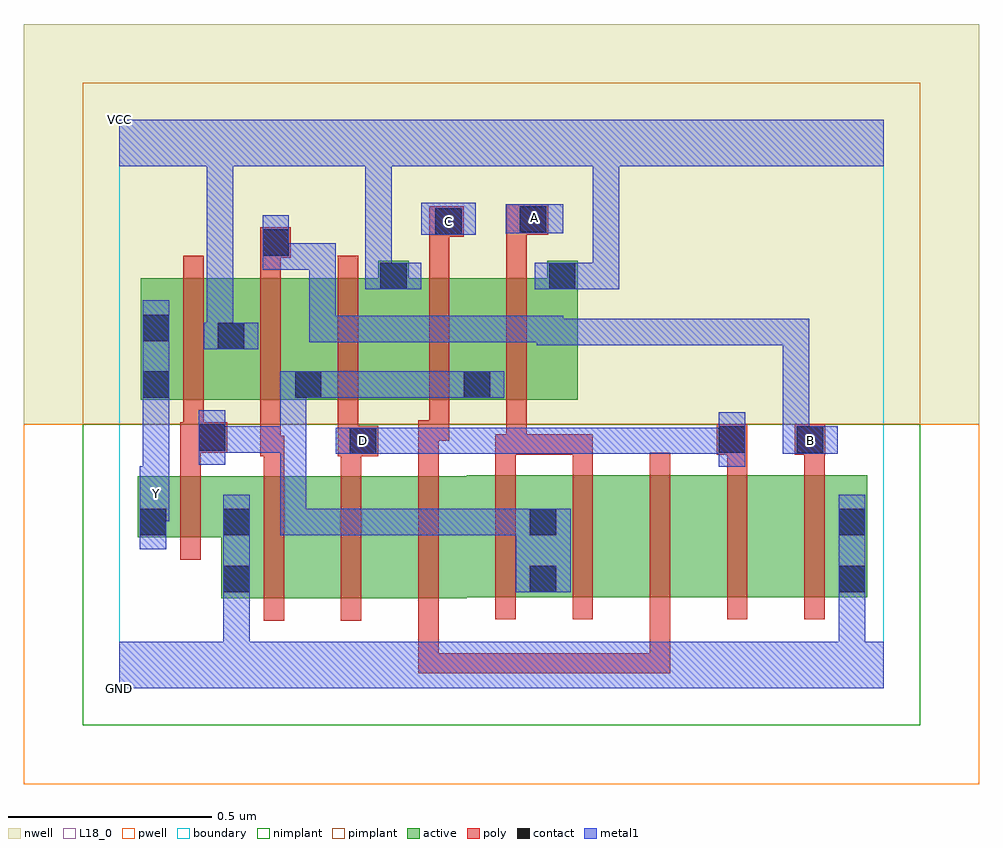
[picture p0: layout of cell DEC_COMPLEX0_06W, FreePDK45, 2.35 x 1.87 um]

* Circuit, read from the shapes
.subckt DEC_COMPLEX0_06W A B C D GND VCC Y
M1 GND n1 Y VSUBS nfet w=0.15u l=0.05u
M2 n2 B GND VSUBS nfet w=0.3u l=0.05u
M3 n3 D n2 VSUBS nfet w=0.3u l=0.05u
M4 n4 C n3 VSUBS nfet w=0.3u l=0.05u
M5 n1 A n4 VSUBS nfet w=0.3u l=0.05u
M6 n5 A n1 VSUBS nfet w=0.3u l=0.05u
M7 n6 C n5 VSUBS nfet w=0.3u l=0.05u
M8 n7 D n6 VSUBS nfet w=0.3u l=0.05u
M9 GND B n7 VSUBS nfet w=0.3u l=0.05u
M10 VCC n1 Y n8 pfet w=0.3u l=0.05u
M11 n1 B VCC n8 pfet w=0.3u l=0.05u
M12 VCC D n1 n8 pfet w=0.3u l=0.05u
M13 n1 C VCC n8 pfet w=0.3u l=0.05u
M14 VCC A n1 n8 pfet w=0.3u l=0.05u
.ends

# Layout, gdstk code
import gdstk
lib = gdstk.Library(unit=1e-6, precision=1e-09)
def R(c, l, rs):  # rectangles x0, y0, x1, y1
    for r in rs: c.add(gdstk.rectangle(r[:2], r[2:], *l))
def A(c, l, x, y, w, h, nx, ny, dx, dy):  # array of equal rectangles
    R(c, l, [(x+i*dx, y+j*dy, x+i*dx+w, y+j*dy+h) for i in range(nx) for j in range(ny)])
active = (1, 0)
pwell = (2, 0)
nwell = (3, 0)
nimplant = (4, 0)
pimplant = (5, 0)
poly = (9, 0)
contact = (10, 0)
metal1 = (11, 0)
L18_0 = (18, 0)
boundary = (235, 0)

dec_complex0_06w = lib.new_cell('DEC_COMPLEX0_06W')
R(dec_complex0_06w, active, [(0.25,0.222,0.475,0.522), (0.475,0.222,0.665,0.522), (0.665,0.222,0.855,0.522), (0.855,0.225,1.08,0.525), (1.005,0.225,1.08,0.525), (1.005,0.225,1.235,0.525), (1.235,0.225,1.425,0.525), (1.425,0.225,1.615,0.525), (1.615,0.225,1.84,0.525), (1.765,0.225,1.84,0.525), (0.25,0.232,0.325,0.447), (0.045,0.372,0.325,0.522), (0.045,0.372,0.12,0.522), (0.052,0.71,0.127,1.01), (0.052,0.71,0.312,1.01), (0.237,0.71,0.502,1.01), (0.427,0.71,0.712,1.01), (0.427,0.71,0.502,1.005), (0.637,0.71,0.917,1.01), (0.842,0.71,1.127,1.01), (0.842,0.71,0.917,0.937), (1.052,0.71,1.127,1.052), (0.237,0.83,0.312,1.01), (0.637,0.832,0.712,1.052)])
R(dec_complex0_06w, pwell, [(-0.235,-0.235,2.115,0.65)])
R(dec_complex0_06w, nwell, [(-0.235,0.65,2.115,1.635)])
R(dec_complex0_06w, nimplant, [(-0.09,-0.09,1.97,0.65)])
R(dec_complex0_06w, pimplant, [(-0.09,0.65,1.97,1.49)])
A(dec_complex0_06w, poly, 0.355, 0.167, 0.05, 0.41, 3, 1, 0.19, 0)
A(dec_complex0_06w, poly, 0.925, 0.17, 0.05, 0.41, 5, 1, 0.19, 0)
A(dec_complex0_06w, poly, 0.157, 0.655, 0.05, 0.41, 3, 1, 0.19, 0)
R(dec_complex0_06w, poly, [(0.735,0.037,0.785,0.087), (0.735,0.037,1.032,0.087), (0.735,0.037,0.785,0.217), (0.982,0.037,1.032,0.087), (0.982,0.037,1.032,0.087), (0.982,0.037,1.032,0.087), (0.982,0.037,1.165,0.087), (1.115,0.037,1.165,0.087), (1.115,0.037,1.165,0.087), (1.115,0.037,1.165,0.087), (1.115,0.037,1.355,0.087), (1.305,0.037,1.355,0.22), (1.305,0.037,1.355,0.087), (1.305,0.037,1.355,0.087), (1.305,0.037,1.355,0.087), (0.15,0.317,0.2,0.577), (0.15,0.527,0.2,0.63), (0.355,0.527,0.405,0.622), (0.545,0.527,0.595,0.622), (0.735,0.527,0.785,0.66), (0.925,0.53,0.975,0.625), (1.115,0.53,1.165,0.625), (1.495,0.53,1.545,0.625), (1.685,0.53,1.735,0.625), (0.347,0.572,0.397,0.705), (0.347,0.572,0.405,0.622), (0.537,0.572,0.637,0.647), (0.925,0.575,1.002,0.625), (0.952,0.575,1.165,0.625), (0.952,0.575,1.002,0.705), (1.115,0.575,1.165,0.625), (1.115,0.575,1.165,0.625), (1.115,0.575,1.165,0.625), (1.47,0.575,1.545,0.65), (1.662,0.575,1.737,0.65), (0.15,0.58,0.265,0.655), (0.537,0.597,0.587,0.705), (0.157,0.605,0.207,0.705), (0.735,0.61,0.812,0.66), (0.762,0.61,0.812,0.705), (0.762,0.655,0.812,1.065), (0.952,0.655,1.002,1.065), (0.347,1.015,0.397,1.11), (0.762,1.015,0.812,1.162), (0.952,1.015,1.002,1.167), (0.347,1.06,0.422,1.135), (0.762,1.112,0.847,1.187), (0.952,1.117,1.055,1.192)])
R(dec_complex0_06w, contact, [(0.255,0.237,0.32,0.302), (1.01,0.237,1.075,0.302), (1.77,0.237,1.835,0.302), (0.05,0.377,0.115,0.442), (0.255,0.377,0.32,0.442), (1.01,0.377,1.075,0.442), (1.77,0.377,1.835,0.442), (0.567,0.577,0.632,0.642), (1.475,0.58,1.54,0.645), (1.667,0.58,1.732,0.645), (0.195,0.585,0.26,0.65), (0.057,0.715,0.122,0.78), (0.432,0.715,0.497,0.78), (0.847,0.715,0.912,0.78), (0.242,0.835,0.307,0.9), (0.057,0.855,0.122,0.92), (0.642,0.982,0.707,1.047), (1.057,0.982,1.122,1.047), (0.352,1.065,0.417,1.13), (0.777,1.117,0.842,1.182), (0.985,1.122,1.05,1.187)])
R(dec_complex0_06w, metal1, [(0,0,1.88,0.115), (0.255,0.05,0.32,0.267), (1.77,0.05,1.835,0.267), (0.255,0.202,0.32,0.267), (0.255,0.202,0.32,0.267), (0.255,0.202,0.32,0.267), (0.255,0.202,0.32,0.267), (0.255,0.202,0.32,0.477), (1.77,0.202,1.835,0.267), (1.77,0.202,1.835,0.267), (1.77,0.202,1.835,0.267), (1.77,0.202,1.835,0.267), (1.77,0.202,1.835,0.477), (0.975,0.237,1.11,0.442), (0.05,0.342,0.115,0.477), (0.395,0.377,0.46,0.442), (0.395,0.377,0.67,0.442), (0.395,0.377,0.46,0.645), (0.605,0.377,0.67,0.442), (0.605,0.377,0.67,0.442), (0.605,0.377,0.67,0.442), (0.605,0.377,0.877,0.442), (0.812,0.377,0.877,0.442), (0.812,0.377,0.877,0.442), (0.812,0.377,0.877,0.442), (0.812,0.377,1.04,0.442), (0.975,0.377,1.04,0.442), (0.975,0.377,1.04,0.442), (0.05,0.412,0.115,0.477), (0.05,0.412,0.122,0.547), (0.057,0.482,0.122,0.745), (1.475,0.545,1.54,0.68), (0.195,0.55,0.26,0.685), (0.532,0.577,0.667,0.642), (0.602,0.577,0.67,0.642), (0.605,0.577,0.67,0.642), (0.605,0.577,0.877,0.642), (0.812,0.577,0.877,0.642), (0.812,0.577,0.877,0.642), (0.812,0.577,0.877,0.642), (0.812,0.577,1.092,0.642), (1.027,0.577,1.092,0.642), (1.027,0.577,1.23,0.642), (1.165,0.577,1.23,0.642), (1.165,0.577,1.23,0.642), (1.165,0.577,1.23,0.642), (1.165,0.577,1.402,0.642), (1.337,0.577,1.402,0.642), (1.337,0.577,1.402,0.642), (1.337,0.577,1.402,0.642), (1.337,0.577,1.54,0.642), (1.475,0.577,1.54,0.642), (1.475,0.577,1.54,0.642), (1.632,0.577,1.767,0.645), (0.195,0.58,0.26,0.645), (0.195,0.58,0.26,0.645), (0.195,0.58,0.417,0.645), (0.352,0.58,0.417,0.645), (0.352,0.58,0.46,0.645), (0.395,0.58,0.46,0.645), (0.395,0.58,0.46,0.78), (1.632,0.58,1.697,0.645), (1.632,0.58,1.697,0.645), (1.632,0.58,1.697,0.91), (0.057,0.68,0.122,0.955), (0.395,0.715,0.532,0.78), (0.467,0.715,0.67,0.78), (0.605,0.715,0.67,0.78), (0.605,0.715,0.67,0.78), (0.605,0.715,0.67,0.78), (0.605,0.715,0.877,0.78), (0.812,0.715,0.877,0.78), (0.812,0.715,0.877,0.78), (0.812,0.715,0.947,0.78), (0.207,0.835,0.342,0.9), (0.215,0.835,0.28,0.9), (0.215,0.835,0.28,0.9), (0.215,0.835,0.28,0.917), (1.027,0.845,1.092,0.91), (1.027,0.845,1.092,0.91), (1.027,0.845,1.092,0.91), (1.027,0.845,1.092,0.91), (1.027,0.845,1.23,0.91), (1.027,0.845,1.092,0.917), (1.165,0.845,1.23,0.91), (1.165,0.845,1.402,0.91), (1.337,0.845,1.402,0.91), (1.337,0.845,1.402,0.91), (1.337,0.845,1.402,0.91), (1.337,0.845,1.54,0.91), (1.475,0.845,1.54,0.91), (1.475,0.845,1.54,0.91), (1.475,0.845,1.54,0.91), (1.475,0.845,1.697,0.91), (1.632,0.845,1.697,0.91), (0.215,0.852,0.28,0.917), (0.215,0.852,0.28,1.35), (0.467,0.852,0.532,0.917), (0.467,0.852,0.555,0.917), (0.467,0.852,0.532,1.095), (0.49,0.852,0.555,0.917), (0.49,0.852,0.67,0.917), (0.605,0.852,0.67,0.917), (0.605,0.852,0.877,0.917), (0.812,0.852,0.877,0.917), (0.812,0.852,0.877,0.917), (0.812,0.852,0.877,0.917), (0.812,0.852,1.092,0.917), (0.605,0.982,0.67,1.35), (0.605,0.982,0.742,1.047), (1.022,0.982,1.23,1.047), (1.165,0.982,1.23,1.35), (0.352,1.03,0.417,1.165), (0.352,1.03,0.532,1.095), (0.467,1.03,0.532,1.095), (0.467,1.03,0.532,1.095), (0.467,1.03,0.532,1.095), (0.742,1.117,0.877,1.195), (0.95,1.12,1.092,1.192), (0,1.285,1.88,1.4), (0.605,1.285,0.67,1.35), (0.605,1.285,0.67,1.35), (0.605,1.285,0.67,1.35), (0.605,1.285,0.67,1.35), (1.165,1.285,1.23,1.35), (1.165,1.285,1.23,1.35), (1.165,1.285,1.23,1.35), (1.165,1.285,1.23,1.35)])
R(dec_complex0_06w, L18_0, [(0,0,1.88,0.115), (0.255,0.05,0.32,0.267), (1.77,0.05,1.835,0.267), (0.255,0.202,0.32,0.267), (0.255,0.202,0.32,0.267), (0.255,0.202,0.32,0.267), (0.255,0.202,0.32,0.267), (0.255,0.202,0.32,0.477), (1.77,0.202,1.835,0.267), (1.77,0.202,1.835,0.267), (1.77,0.202,1.835,0.267), (1.77,0.202,1.835,0.267), (1.77,0.202,1.835,0.477), (0.05,0.342,0.115,0.477), (0.05,0.412,0.122,0.547), (0.05,0.412,0.115,0.477), (0.057,0.447,0.122,0.512), (0.057,0.482,0.122,0.745), (1.475,0.545,1.54,0.68), (0.532,0.577,0.667,0.642), (0.567,0.577,0.632,0.642), (0.602,0.577,0.67,0.642), (0.605,0.577,0.67,0.642), (0.605,0.577,0.877,0.642), (0.812,0.577,0.877,0.642), (0.812,0.577,0.877,0.642), (0.812,0.577,0.877,0.642), (0.812,0.577,1.092,0.642), (1.027,0.577,1.092,0.642), (1.027,0.577,1.23,0.642), (1.165,0.577,1.23,0.642), (1.165,0.577,1.23,0.642), (1.165,0.577,1.23,0.642), (1.165,0.577,1.402,0.642), (1.337,0.577,1.402,0.642), (1.337,0.577,1.402,0.642), (1.337,0.577,1.402,0.642), (1.337,0.577,1.54,0.642), (1.475,0.577,1.54,0.642), (1.475,0.577,1.54,0.642), (1.632,0.577,1.767,0.645), (1.667,0.577,1.732,0.642), (1.632,0.58,1.697,0.645), (1.632,0.58,1.697,0.645), (1.632,0.58,1.697,0.91), (0.057,0.68,0.122,0.955), (0.207,0.835,0.342,0.9), (0.215,0.835,0.28,0.9), (0.215,0.835,0.28,0.9), (0.215,0.835,0.28,0.917), (1.027,0.845,1.092,0.91), (1.027,0.845,1.092,0.91), (1.027,0.845,1.092,0.91), (1.027,0.845,1.092,0.91), (1.027,0.845,1.092,0.917), (1.027,0.845,1.23,0.91), (1.165,0.845,1.23,0.91), (1.165,0.845,1.402,0.91), (1.337,0.845,1.402,0.91), (1.337,0.845,1.402,0.91), (1.337,0.845,1.402,0.91), (1.337,0.845,1.54,0.91), (1.475,0.845,1.54,0.91), (1.475,0.845,1.54,0.91), (1.475,0.845,1.54,0.91), (1.475,0.845,1.697,0.91), (1.632,0.845,1.697,0.91), (0.215,0.852,0.28,0.917), (0.215,0.852,0.28,1.35), (0.467,0.852,0.532,0.917), (0.467,0.852,0.532,1.095), (0.467,0.852,0.555,0.917), (0.49,0.852,0.555,0.917), (0.49,0.852,0.67,0.917), (0.605,0.852,0.67,0.917), (0.605,0.852,0.877,0.917), (0.812,0.852,0.877,0.917), (0.812,0.852,0.877,0.917), (0.812,0.852,0.877,0.917), (0.812,0.852,1.092,0.917), (0.605,0.982,0.742,1.047), (0.605,0.982,0.67,1.35), (1.022,0.982,1.23,1.047), (1.165,0.982,1.23,1.35), (0.352,1.03,0.417,1.165), (0.352,1.03,0.532,1.095), (0.467,1.03,0.532,1.095), (0.467,1.03,0.532,1.095), (0.467,1.03,0.532,1.095), (0.742,1.117,0.877,1.195), (0.777,1.117,0.842,1.182), (0.95,1.12,1.092,1.192), (0.987,1.127,1.052,1.192), (0,1.285,1.88,1.4), (0.605,1.285,0.67,1.35), (0.605,1.285,0.67,1.35), (0.605,1.285,0.67,1.35), (0.605,1.285,0.67,1.35), (1.165,1.285,1.23,1.35), (1.165,1.285,1.23,1.35), (1.165,1.285,1.23,1.35), (1.165,1.285,1.23,1.35)])
R(dec_complex0_06w, boundary, [(0,0,1.88,1.4)])
dec_complex0_06w.add(gdstk.Label('A', (1.02,1.16), layer=11, texttype=0))
dec_complex0_06w.add(gdstk.Label('B', (1.7,0.61), layer=11, texttype=0))
dec_complex0_06w.add(gdstk.Label('C', (0.81,1.15), layer=11, texttype=0))
dec_complex0_06w.add(gdstk.Label('D', (0.6,0.61), layer=11, texttype=0))
dec_complex0_06w.add(gdstk.Label('Y', (0.09,0.48), layer=11, texttype=0))
dec_complex0_06w.add(gdstk.Label('VCC', (0,1.4), layer=11, texttype=0))
dec_complex0_06w.add(gdstk.Label('GND', (0,0), layer=11, texttype=0))

lib.write_gds('DEC_COMPLEX0_06W.gds')
